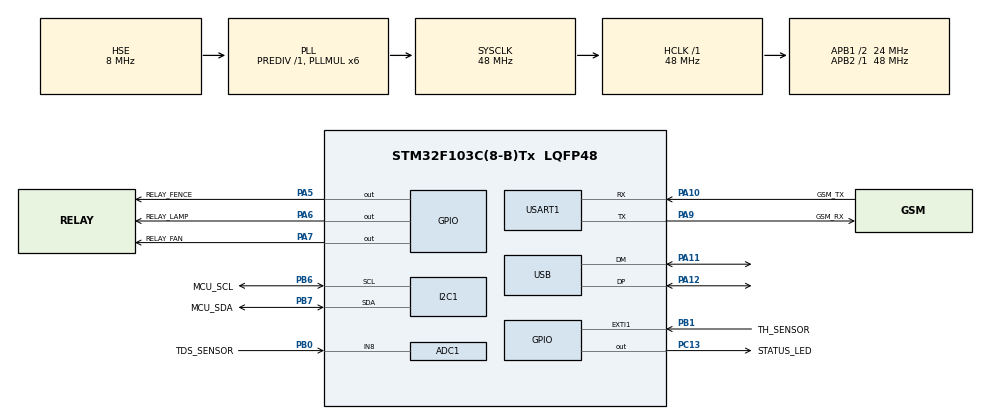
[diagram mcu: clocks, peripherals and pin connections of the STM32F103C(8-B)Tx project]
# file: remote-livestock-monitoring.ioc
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ADC1.Channel-1\#ChannelRegularConversion=ADC_CHANNEL_8
ADC1.NbrOfConversionFlag=1
ADC1.Rank-1\#ChannelRegularConversion=1
ADC1.SamplingTime-1\#ChannelRegularConversion=ADC_SAMPLETIME_1CYCLE_5
ADC1.master=1
Mcu.Family=STM32F1
Mcu.Name=STM32F103C(8-B)Tx
Mcu.Package=LQFP48
NVIC.PriorityGroup=NVIC_PRIORITYGROUP_4
NVIC.USB_LP_CAN1_RX0_IRQn=true\:0\:0\:false\:false\:true\:false\:true\:true
PA10.GPIO_Label=GSM_TX
PA10.Mode=Asynchronous
PA10.Signal=USART1_RX
PA11.Mode=Device
PA11.Signal=USB_DM
PA12.Mode=Device
PA12.Signal=USB_DP
PA13.Mode=Serial_Wire
PA13.Signal=SYS_JTMS-SWDIO
PA14.Mode=Serial_Wire
PA14.Signal=SYS_JTCK-SWCLK
PA5.GPIO_Label=RELAY_FENCE
PA5.Signal=GPIO_Output
PA6.GPIO_Label=RELAY_LAMP
PA6.Signal=GPIO_Output
PA7.GPIO_Label=RELAY_FAN
PA7.Signal=GPIO_Output
PA9.GPIO_Label=GSM_RX
PA9.Mode=Asynchronous
PA9.Signal=USART1_TX
PB0.GPIO_Label=TDS_SENSOR
PB0.Signal=ADCx_IN8
PB1.GPIO_Label=TH_SENSOR
PB1.Signal=GPXTI1
PB6.GPIO_Label=MCU_SCL
PB6.Mode=I2C
PB6.Signal=I2C1_SCL
PB7.GPIO_Label=MCU_SDA
PB7.Mode=I2C
PB7.Signal=I2C1_SDA
PC13-TAMPER-RTC.GPIO_Label=STATUS_LED
PC13-TAMPER-RTC.Signal=GPIO_Output
PD0-OSC_IN.Mode=HSE-External-Oscillator
PD0-OSC_IN.Signal=RCC_OSC_IN
PD1-OSC_OUT.Mode=HSE-External-Oscillator
PD1-OSC_OUT.Signal=RCC_OSC_OUT
ProjectManager.HeapSize=0x200
ProjectManager.StackSize=0x400
ProjectManager.TargetToolchain=Makefile
RCC.ADCPresc=RCC_ADCPCLK2_DIV4
RCC.AHBFreq_Value=48000000
RCC.APB1CLKDivider=RCC_HCLK_DIV2
RCC.APB1Freq_Value=24000000
RCC.APB1TimFreq_Value=48000000
RCC.APB2Freq_Value=48000000
RCC.APB2TimFreq_Value=48000000
RCC.HCLKFreq_Value=48000000
RCC.PLLMUL=RCC_PLL_MUL6
RCC.SYSCLKFreq_VALUE=48000000
RCC.SYSCLKSource=RCC_SYSCLKSOURCE_PLLCLK
RCC.USBFreq_Value=48000000
SH.ADCx_IN8.0=ADC1_IN8,IN8
USART1.VirtualMode=VM_ASYNC
USB_DEVICE.CLASS_NAME_FS=CDC
USB_DEVICE.VirtualMode=Cdc
USB_DEVICE.VirtualModeFS=Cdc_FS
VP_USB_DEVICE_VS_USB_DEVICE_CDC_FS.Mode=CDC_FS
board=custom

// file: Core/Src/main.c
/* USER CODE BEGIN Header */
/**
  ******************************************************************************
  * @file           : main.c
  * @brief          : Main program body
  ******************************************************************************
  * @attention
  *
  * Copyright (c) 2026 STMicroelectronics.
  * All rights reserved.
  *
  * This software is licensed under terms that can be found in the LICENSE file
  * in the root directory of this software component.
  * If no LICENSE file comes with this software, it is provided AS-IS.
  *
  ******************************************************************************
  */
/* USER CODE END Header */
#include "main.h"
#include "usb_device.h"

/* USER CODE BEGIN Includes */
#include "controller.h"
#include "stdio.h"
#include "string.h"

#include "../Inc/SSD1306.h"
#include "define.h"
/* USER CODE END Includes */

/* USER CODE BEGIN PD */
char gsm_rx_buffer[300]; // Buffer for receiving data from GSM module
uint8_t receive_bytes = 0; // Variable to store the number of bytes received
/* USER CODE END PD */

ADC_HandleTypeDef hadc1;

I2C_HandleTypeDef hi2c1;

UART_HandleTypeDef huart1;

/* USER CODE BEGIN PV */
OLED_t oled; // OLED display handle

/* USER CODE END PV */

void SystemClock_Config(void);
static void MX_GPIO_Init(void);
static void MX_ADC1_Init(void);
static void MX_I2C1_Init(void);
static void MX_USART1_UART_Init(void);
/* USER CODE BEGIN PFP */
static uint32_t read_adc_channel(uint32_t channel);
/* USER CODE END PFP */

/* USER CODE BEGIN 0 */
void HAL_UART_RxCpltCallback(UART_HandleTypeDef *huart){
  if(huart->Instance == USART1){
    // Restart UART reception for the next data
    memset(gsm_rx_buffer, 0, sizeof(gsm_rx_buffer)); // Clear the buffer before receiving new data
    HAL_UART_Receive_IT(&huart1, (uint8_t*)gsm_rx_buffer, sizeof(gsm_rx_buffer));
    receive_bytes = strlen(gsm_rx_buffer); // Update the number of bytes received
    printf("Received GSM data: %s\n\r", gsm_rx_buffer); // Print the received data for debugging
    if(!receive_bytes) return; // Update the number of bytes received
    // Process the received data as needed
    if(!BITREAD(rlm.sta.init_gsm, 0) && !strcmp(gsm_rx_buffer, "OK")) BITSET(rlm.sta.init_gsm, 0); // Basic command to check communication
    else if(!BITREAD(rlm.sta.init_gsm, 1)) {
      uint8_t sim_status = 0;
      sscanf(gsm_rx_buffer, "+CSMINS: %*d,%d", &sim_status); // Check SIM card status
      if(sim_status) BITSET(rlm.sta.init_gsm, 1); // Mark SIM card status as received
    }
    else if(!BITREAD(rlm.sta.init_gsm, 3)) {
      sscanf(gsm_rx_buffer, "+CSQ: %d,%*d", &rlm.sta.rssi); // Check signal quality
      BITSET(rlm.sta.init_gsm, 3); // Mark RSSI as received
    }
    else if(!BITREAD(rlm.sta.init_gsm, 4) && !strcmp(gsm_rx_buffer, "OK")) BITSET(rlm.sta.init_gsm, 5); // Mark SMS mode set as done
    else if(!BITREAD(rlm.sta.init_gsm, 5) && !strcmp(gsm_rx_buffer, "> ")) BITSET(rlm.sta.init_gsm, 6); // Mark SMS recipient set as done
  }
}

int _write(int file, char *ptr, int len){
  CDC_Transmit_FS((uint8_t*)ptr, len);
  return len;
}
/* USER CODE END 0 */

int main(void)
{

  /* USER CODE BEGIN 1 */
  static unsigned long gsm_sync_timeout = 0; // Variable to track GSM synchronization timing
  static unsigned long sensor_read_timeout = 0; // Variable to track sensor reading timing
  static unsigned long display_update_timeout = 0; // Variable to track display update timing
  /* USER CODE END 1 */

  /* MCU Configuration--------------------------------------------------------*/

  /* Reset of all peripherals, Initializes the Flash interface and the Systick. */
  HAL_Init();

  /* Configure the system clock */
  SystemClock_Config();

  /* Initialize all configured peripherals */
  MX_GPIO_Init();
  MX_ADC1_Init();
  MX_I2C1_Init();
  MX_USART1_UART_Init();
  MX_USB_DEVICE_Init();
  /* USER CODE BEGIN 2 */
	HAL_GPIO_WritePin(STATUS_LED_GPIO_Port,STATUS_LED_Pin,GPIO_PIN_SET);
	HAL_Delay(1000);
	HAL_GPIO_WritePin(RELAY_FAN_GPIO_Port,RELAY_FAN_Pin,GPIO_PIN_SET);
	HAL_Delay(2000);
	HAL_GPIO_WritePin(RELAY_LAMP_GPIO_Port,RELAY_LAMP_Pin,GPIO_PIN_SET);
	HAL_Delay(2000);
	HAL_GPIO_WritePin(RELAY_FENCE_GPIO_Port,RELAY_FENCE_Pin,GPIO_PIN_SET);
	//HAL_Delay(1000);

  OLED_init(&oled, &hi2c1, 128, 64, OLED_ADDR_DEFAULT); // Initialize OLED display
  memset(&rlm, 0, sizeof(rlm)); // Clear the controller status
  BITSET(rlm.sta.init_gsm, 2); // Mark GSM UART configuration as done since UART is initialized
  printf("Welcome STM32\n\r");
  OLED_print(&oled,"Welcome STM32",0,0);
  /* USER CODE END 2 */

  /* Infinite loop */
  while (1)
  {

    /* USER CODE BEGIN 3 */
    if(HAL_GetTick() - gsm_sync_timeout > 500) { // Check if 0.5 seconds have passed since the last GSM synchronization
      gsm_sync_timeout = HAL_GetTick();
      if(rlm.sta.init_gsm != 0x3F) { // Sync GSM every 0.1 seconds
        sync_gsm();
      }else if(rlm.sta.init_gsm == 0x3F) { // If GSM is fully initialized, perform main operations
        // Main operations here (e.g., read sensors, update display, control actuators)
        printf("GSM fully initialized\n\r");
      }
    }

    /*Function block for read sensors*/
    if(HAL_GetTick() - sensor_read_timeout > 1000) { // Check if 1 second has passed since the last sensor reading
      sensor_read_timeout = HAL_GetTick();
      // Read sensor values here
      uint32_t adc_value = read_adc_channel(ADC_CHANNEL_8);
      // Step 1: ADC to Voltage
      float voltage = (adc_value / 4095.0) * 3.3f;

      // Step 2: Temperature Compensation
      float compensationCoefficient = 1.0 + 0.02 * (rlm.sta.temp_value - 25.0);
      float compensatedVoltage = voltage / compensationCoefficient;

      // Step 3: Convert to TDS
      rlm.sta.tds_value = (133.42 * compensatedVoltage * compensatedVoltage * compensatedVoltage
                  - 255.86 * compensatedVoltage * compensatedVoltage
                  + 857.39 * compensatedVoltage) * 0.5;

      printf("Temprature:%.2f\r\n", rlm.sta.temp_value);
      printf("Humidity:%.2f\r\n", rlm.sta.hum_value);
      printf("TDS value:%.2f\r\n", rlm.sta.tds_value);
    }

    //gsm_init(); // Initialize GSM module
  }
  /* USER CODE END 3 */
}

void SystemClock_Config(void)
{
  RCC_OscInitTypeDef RCC_OscInitStruct = {0};
  RCC_ClkInitTypeDef RCC_ClkInitStruct = {0};
  RCC_PeriphCLKInitTypeDef PeriphClkInit = {0};

  /** Initializes the RCC Oscillators according to the specified parameters
  * in the RCC_OscInitTypeDef structure.
  */
  RCC_OscInitStruct.OscillatorType = RCC_OSCILLATORTYPE_HSE;
  RCC_OscInitStruct.HSEState = RCC_HSE_ON;
  RCC_OscInitStruct.HSEPredivValue = RCC_HSE_PREDIV_DIV1;
  RCC_OscInitStruct.HSIState = RCC_HSI_ON;
  RCC_OscInitStruct.PLL.PLLState = RCC_PLL_ON;
  RCC_OscInitStruct.PLL.PLLSource = RCC_PLLSOURCE_HSE;
  RCC_OscInitStruct.PLL.PLLMUL = RCC_PLL_MUL6;
  if (HAL_RCC_OscConfig(&RCC_OscInitStruct) != HAL_OK)
  {
    Error_Handler();
  }

  /** Initializes the CPU, AHB and APB buses clocks
  */
  RCC_ClkInitStruct.ClockType = RCC_CLOCKTYPE_HCLK|RCC_CLOCKTYPE_SYSCLK
                              |RCC_CLOCKTYPE_PCLK1|RCC_CLOCKTYPE_PCLK2;
  RCC_ClkInitStruct.SYSCLKSource = RCC_SYSCLKSOURCE_PLLCLK;
  RCC_ClkInitStruct.AHBCLKDivider = RCC_SYSCLK_DIV1;
  RCC_ClkInitStruct.APB1CLKDivider = RCC_HCLK_DIV2;
  RCC_ClkInitStruct.APB2CLKDivider = RCC_HCLK_DIV1;

  if (HAL_RCC_ClockConfig(&RCC_ClkInitStruct, FLASH_LATENCY_1) != HAL_OK)
  {
    Error_Handler();
  }
  PeriphClkInit.PeriphClockSelection = RCC_PERIPHCLK_ADC|RCC_PERIPHCLK_USB;
  PeriphClkInit.AdcClockSelection = RCC_ADCPCLK2_DIV4;
  PeriphClkInit.UsbClockSelection = RCC_USBCLKSOURCE_PLL;
  if (HAL_RCCEx_PeriphCLKConfig(&PeriphClkInit) != HAL_OK)
  {
    Error_Handler();
  }
}

static void MX_ADC1_Init(void)
{

  ADC_ChannelConfTypeDef sConfig = {0};

  /** Common config
  */
  hadc1.Instance = ADC1;
  hadc1.Init.ScanConvMode = ADC_SCAN_DISABLE;
  hadc1.Init.ContinuousConvMode = DISABLE;
  hadc1.Init.DiscontinuousConvMode = DISABLE;
  hadc1.Init.ExternalTrigConv = ADC_SOFTWARE_START;
  hadc1.Init.DataAlign = ADC_DATAALIGN_RIGHT;
  hadc1.Init.NbrOfConversion = 1;
  if (HAL_ADC_Init(&hadc1) != HAL_OK)
  {
    Error_Handler();
  }

  /** Configure Regular Channel
  */
  sConfig.Channel = ADC_CHANNEL_8;
  sConfig.Rank = ADC_REGULAR_RANK_1;
  sConfig.SamplingTime = ADC_SAMPLETIME_1CYCLE_5;
  if (HAL_ADC_ConfigChannel(&hadc1, &sConfig) != HAL_OK)
  {
    Error_Handler();
  }

}

static void MX_I2C1_Init(void)
{

  hi2c1.Instance = I2C1;
  hi2c1.Init.ClockSpeed = 100000;
  hi2c1.Init.DutyCycle = I2C_DUTYCYCLE_2;
  hi2c1.Init.OwnAddress1 = 0;
  hi2c1.Init.AddressingMode = I2C_ADDRESSINGMODE_7BIT;
  hi2c1.Init.DualAddressMode = I2C_DUALADDRESS_DISABLE;
  hi2c1.Init.OwnAddress2 = 0;
  hi2c1.Init.GeneralCallMode = I2C_GENERALCALL_DISABLE;
  hi2c1.Init.NoStretchMode = I2C_NOSTRETCH_DISABLE;
  if (HAL_I2C_Init(&hi2c1) != HAL_OK)
  {
    Error_Handler();
  }

}

static void MX_USART1_UART_Init(void)
{

  huart1.Instance = USART1;
  huart1.Init.BaudRate = 115200;
  huart1.Init.WordLength = UART_WORDLENGTH_8B;
  huart1.Init.StopBits = UART_STOPBITS_1;
  huart1.Init.Parity = UART_PARITY_NONE;
  huart1.Init.Mode = UART_MODE_TX_RX;
  huart1.Init.HwFlowCtl = UART_HWCONTROL_NONE;
  huart1.Init.OverSampling = UART_OVERSAMPLING_16;
  if (HAL_UART_Init(&huart1) != HAL_OK)
  {
    Error_Handler();
  }

}

static void MX_GPIO_Init(void)
{
  GPIO_InitTypeDef GPIO_InitStruct = {0};

  /* GPIO Ports Clock Enable */
  __HAL_RCC_GPIOC_CLK_ENABLE();
  __HAL_RCC_GPIOD_CLK_ENABLE();
  __HAL_RCC_GPIOA_CLK_ENABLE();
  __HAL_RCC_GPIOB_CLK_ENABLE();

  /*Configure GPIO pin Output Level */
  HAL_GPIO_WritePin(STATUS_LED_GPIO_Port, STATUS_LED_Pin, GPIO_PIN_RESET);

  /*Configure GPIO pin Output Level */
  HAL_GPIO_WritePin(GPIOA, RELAY_FENCE_Pin|RELAY_LAMP_Pin|RELAY_FAN_Pin, GPIO_PIN_RESET);

  /*Configure GPIO pin : STATUS_LED_Pin */
  GPIO_InitStruct.Pin = STATUS_LED_Pin;
  GPIO_InitStruct.Mode = GPIO_MODE_OUTPUT_PP;
  GPIO_InitStruct.Pull = GPIO_NOPULL;
  GPIO_InitStruct.Speed = GPIO_SPEED_FREQ_LOW;
  HAL_GPIO_Init(STATUS_LED_GPIO_Port, &GPIO_InitStruct);

  /*Configure GPIO pins : RELAY_FENCE_Pin RELAY_LAMP_Pin RELAY_FAN_Pin */
  GPIO_InitStruct.Pin = RELAY_FENCE_Pin|RELAY_LAMP_Pin|RELAY_FAN_Pin;
  GPIO_InitStruct.Mode = GPIO_MODE_OUTPUT_PP;
  GPIO_InitStruct.Pull = GPIO_NOPULL;
  GPIO_InitStruct.Speed = GPIO_SPEED_FREQ_LOW;
  HAL_GPIO_Init(GPIOA, &GPIO_InitStruct);

  /*Configure GPIO pin : TH_SENSOR_Pin */
  GPIO_InitStruct.Pin = TH_SENSOR_Pin;
  GPIO_InitStruct.Mode = GPIO_MODE_IT_RISING;
  GPIO_InitStruct.Pull = GPIO_NOPULL;
  HAL_GPIO_Init(TH_SENSOR_GPIO_Port, &GPIO_InitStruct);

}

/* USER CODE BEGIN 4 */
/* Read a configured ADC channel once and return value (12-bit assumed) */
static uint32_t read_adc_channel(uint32_t channel) {
  ADC_ChannelConfTypeDef sConfig = {0};
  sConfig.Channel = channel;
  sConfig.Rank = ADC_REGULAR_RANK_1;
  sConfig.SamplingTime = ADC_SAMPLETIME_7CYCLES_5;
  HAL_ADC_ConfigChannel(&hadc1, &sConfig);

  HAL_ADC_Start(&hadc1);
  HAL_ADC_PollForConversion(&hadc1, 10);
  uint32_t val = HAL_ADC_GetValue(&hadc1);
  HAL_ADC_Stop(&hadc1);
  return val;
}
/* USER CODE END 4 */

void Error_Handler(void)
{
  __disable_irq();
  while (1)
  {
  }
}
